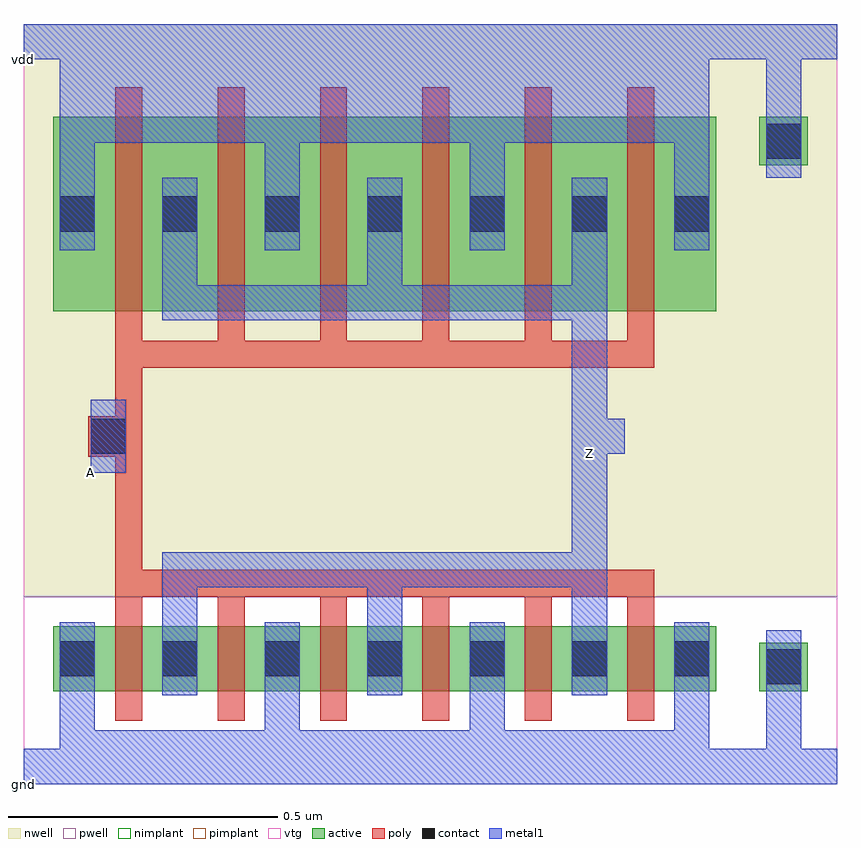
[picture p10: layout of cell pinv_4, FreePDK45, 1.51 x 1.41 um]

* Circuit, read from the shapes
.subckt pinv_4 A Z gnd vdd
M1 Z A gnd gnd nfet w=0.12u l=0.05u m=6
M2 Z A vdd vdd pfet w=0.36u l=0.05u m=6
.ends

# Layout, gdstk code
import gdstk
lib = gdstk.Library(unit=1e-6, precision=5e-10)
def R(c, l, rs):  # rectangles x0, y0, x1, y1
    for r in rs: c.add(gdstk.rectangle(r[:2], r[2:], *l))
def A(c, l, x, y, w, h, nx, ny, dx, dy):  # array of equal rectangles
    R(c, l, [(x+i*dx, y+j*dy, x+i*dx+w, y+j*dy+h) for i in range(nx) for j in range(ny)])
active = (1, 0)
pwell = (2, 0)
nwell = (3, 0)
nimplant = (4, 0)
pimplant = (5, 0)
vtg = (6, 0)
poly = (9, 0)
contact = (10, 0)
metal1 = (11, 0)

active_contact_metal1_1x = lib.new_cell('active_contact_metal1_1x1_pn')
R(active_contact_metal1_1x, active, [(0,0.0225,0.09,0.1125), (0,0.0225,0.09,0.1125)])
R(active_contact_metal1_1x, nwell, [(-0.055,-0.0325,0.145,0.1675), (-0.055,-0.0325,0.145,0.1675)])
R(active_contact_metal1_1x, pimplant, [(0,0.0225,0.09,0.1125), (0,0.0225,0.09,0.1125)])
R(active_contact_metal1_1x, contact, [(0.0125,0.035,0.0775,0.1), (0.0125,0.035,0.0775,0.1)])
R(active_contact_metal1_1x, metal1, [(0.0125,0,0.0775,0.135), (0.0125,0,0.0775,0.135)])

pmos_m6_w0_36_a_p = lib.new_cell('pmos_m6_w0_36_a_p')
R(pmos_m6_w0_36_a_p, active, [(0,0,1.23,0.36)])
R(pmos_m6_w0_36_a_p, nwell, [(-0.055,-0.055,1.285,0.415)])
R(pmos_m6_w0_36_a_p, pimplant, [(0,0,1.23,0.36)])
R(pmos_m6_w0_36_a_p, vtg, [(-0.055,-0.055,1.285,0.415)])
A(pmos_m6_w0_36_a_p, poly, 0.115, -0.055, 0.05, 0.47, 6, 1, 0.19, 0)
R(pmos_m6_w0_36_a_p, poly, [(0.115,-0.105,1.115,-0.055)])
A(pmos_m6_w0_36_a_p, metal1, 0.2025, 0.015, 0.065, 0.165, 3, 1, 0.38, 0)
A(pmos_m6_w0_36_a_p, metal1, 0.0125, 0.18, 0.065, 0.165, 4, 1, 0.38, 0)
R(pmos_m6_w0_36_a_p, metal1, [(0.2025,-0.0175,1.0275,0.0475), (0.0125,0.3125,1.2175,0.3775)])
pmos_m6_w0_36_a_p.add(gdstk.Reference(active_contact_metal1_1x, (0,0.1125)))
pmos_m6_w0_36_a_p.add(gdstk.Reference(active_contact_metal1_1x, (0.38,0.1125)))
pmos_m6_w0_36_a_p.add(gdstk.Reference(active_contact_metal1_1x, (0.76,0.1125)))
pmos_m6_w0_36_a_p.add(gdstk.Reference(active_contact_metal1_1x, (1.14,0.1125)))
pmos_m6_w0_36_a_p.add(gdstk.Reference(active_contact_metal1_1x, (0.19,0.1125)))
pmos_m6_w0_36_a_p.add(gdstk.Reference(active_contact_metal1_1x, (0.57,0.1125)))
pmos_m6_w0_36_a_p.add(gdstk.Reference(active_contact_metal1_1x, (0.95,0.1125)))
pmos_m6_w0_36_a_p.add(gdstk.Label('S', (0.0125,0.3125), layer=11, texttype=0))
pmos_m6_w0_36_a_p.add(gdstk.Label('D', (0.2025,-0.0175), layer=11, texttype=0))
pmos_m6_w0_36_a_p.add(gdstk.Label('G', (0.115,-0.105), layer=9, texttype=0))

c_active_contact_metal1_1x = lib.new_cell('active_contact_metal1_1x1_np')
R(c_active_contact_metal1_1x, active, [(0,0.0225,0.09,0.1125)])
R(c_active_contact_metal1_1x, pwell, [(-0.055,-0.0325,0.145,0.1675)])
R(c_active_contact_metal1_1x, nimplant, [(0,0.0225,0.09,0.1125)])
R(c_active_contact_metal1_1x, contact, [(0.0125,0.035,0.0775,0.1)])
R(c_active_contact_metal1_1x, metal1, [(0.0125,0,0.0775,0.135)])

nmos_m6_w0_12_a_p = lib.new_cell('nmos_m6_w0_12_a_p')
R(nmos_m6_w0_12_a_p, active, [(0,0,1.23,0.12)])
R(nmos_m6_w0_12_a_p, pwell, [(-0.055,-0.055,1.285,0.175)])
R(nmos_m6_w0_12_a_p, nimplant, [(0,0,1.23,0.12)])
R(nmos_m6_w0_12_a_p, vtg, [(-0.055,-0.055,1.285,0.175)])
A(nmos_m6_w0_12_a_p, poly, 0.115, -0.055, 0.05, 0.23, 6, 1, 0.19, 0)
R(nmos_m6_w0_12_a_p, poly, [(0.115,0.175,1.115,0.225)])
A(nmos_m6_w0_12_a_p, metal1, 0.0125, -0.105, 0.065, 0.165, 4, 1, 0.38, 0)
A(nmos_m6_w0_12_a_p, metal1, 0.2025, 0.06, 0.065, 0.165, 3, 1, 0.38, 0)
R(nmos_m6_w0_12_a_p, metal1, [(0.0125,-0.1375,1.2175,-0.0725), (0.2025,0.1925,1.0275,0.2575)])
nmos_m6_w0_12_a_p.add(gdstk.Reference(c_active_contact_metal1_1x, (0,-0.0075)))
nmos_m6_w0_12_a_p.add(gdstk.Reference(c_active_contact_metal1_1x, (0.38,-0.0075)))
nmos_m6_w0_12_a_p.add(gdstk.Reference(c_active_contact_metal1_1x, (0.76,-0.0075)))
nmos_m6_w0_12_a_p.add(gdstk.Reference(c_active_contact_metal1_1x, (1.14,-0.0075)))
nmos_m6_w0_12_a_p.add(gdstk.Reference(c_active_contact_metal1_1x, (0.19,-0.0075)))
nmos_m6_w0_12_a_p.add(gdstk.Reference(c_active_contact_metal1_1x, (0.57,-0.0075)))
nmos_m6_w0_12_a_p.add(gdstk.Reference(c_active_contact_metal1_1x, (0.95,-0.0075)))
nmos_m6_w0_12_a_p.add(gdstk.Label('S', (0.0125,-0.1375), layer=11, texttype=0))
nmos_m6_w0_12_a_p.add(gdstk.Label('D', (0.2025,0.1925), layer=11, texttype=0))
nmos_m6_w0_12_a_p.add(gdstk.Label('G', (0.115,0.175), layer=9, texttype=0))

c_active_contact_metal1_1x_ = lib.new_cell('active_contact_metal1_1x1_nn')
R(c_active_contact_metal1_1x_, active, [(0,0.0225,0.09,0.1125), (0,0.0225,0.09,0.1125)])
R(c_active_contact_metal1_1x_, nwell, [(-0.055,-0.0325,0.145,0.1675), (-0.055,-0.0325,0.145,0.1675)])
R(c_active_contact_metal1_1x_, nimplant, [(0,0.0225,0.09,0.1125), (0,0.0225,0.09,0.1125)])
R(c_active_contact_metal1_1x_, contact, [(0.0125,0.035,0.0775,0.1), (0.0125,0.035,0.0775,0.1)])
R(c_active_contact_metal1_1x_, metal1, [(0.0125,0,0.0775,0.135), (0.0125,0,0.0775,0.135)])

c_active_contact_metal1_1x__ = lib.new_cell('active_contact_metal1_1x1_pp')
R(c_active_contact_metal1_1x__, active, [(0,0.0225,0.09,0.1125)])
R(c_active_contact_metal1_1x__, pwell, [(-0.055,-0.0325,0.145,0.1675)])
R(c_active_contact_metal1_1x__, pimplant, [(0,0.0225,0.09,0.1125)])
R(c_active_contact_metal1_1x__, contact, [(0.0125,0.035,0.0775,0.1)])
R(c_active_contact_metal1_1x__, metal1, [(0.0125,0,0.0775,0.135)])

poly_contact_metal1_1x1 = lib.new_cell('poly_contact_metal1_1x1')
R(poly_contact_metal1_1x1, poly, [(0,0.03,0.075,0.105), (0,0.03,0.075,0.105)])
R(poly_contact_metal1_1x1, contact, [(0.005,0.035,0.07,0.1), (0.005,0.035,0.07,0.1)])
R(poly_contact_metal1_1x1, metal1, [(0.005,0,0.07,0.135), (0.005,0,0.07,0.135)])

pinv_4 = lib.new_cell('pinv_4')
R(pinv_4, pwell, [(0,-0.0325,1.51,0.315)])
R(pinv_4, nwell, [(0,0.315,1.51,1.3775)])
R(pinv_4, vtg, [(0,-0.0325,1.51,0.315), (0,0.315,1.51,1.3775)])
R(pinv_4, poly, [(0.17,0.315,0.22,0.74), (0.1575,0.575,0.17,0.65)])
R(pinv_4, metal1, [(0,-0.0325,1.51,0.0325), (1.3775,0,1.4425,0.185), (1.0175,0.3325,1.0825,0.8275), (0.125,0.545,0.19,0.68), (1.05,0.58,1.115,0.645), (0.0675,1.1575,1.2725,1.3775), (1.3775,1.16,1.4425,1.345), (0,1.3125,1.51,1.3775)])
pinv_4.add(gdstk.Reference(pmos_m6_w0_36_a_p, (0.055,0.845)))
pinv_4.add(gdstk.Reference(nmos_m6_w0_12_a_p, (0.055,0.14)))
pinv_4.add(gdstk.Reference(c_active_contact_metal1_1x_, (1.365,1.0925)))
pinv_4.add(gdstk.Reference(c_active_contact_metal1_1x__, (1.365,0.1175)))
pinv_4.add(gdstk.Reference(poly_contact_metal1_1x1, (0.12,0.545)))
pinv_4.add(gdstk.Label('A', (0.125,0.545), layer=11, texttype=0))
pinv_4.add(gdstk.Label('Z', (1.05,0.58), layer=11, texttype=0))
pinv_4.add(gdstk.Label('vdd', (0,1.3125), layer=11, texttype=0))
pinv_4.add(gdstk.Label('gnd', (0,-0.0325), layer=11, texttype=0))

lib.write_gds('pinv_4.gds')
